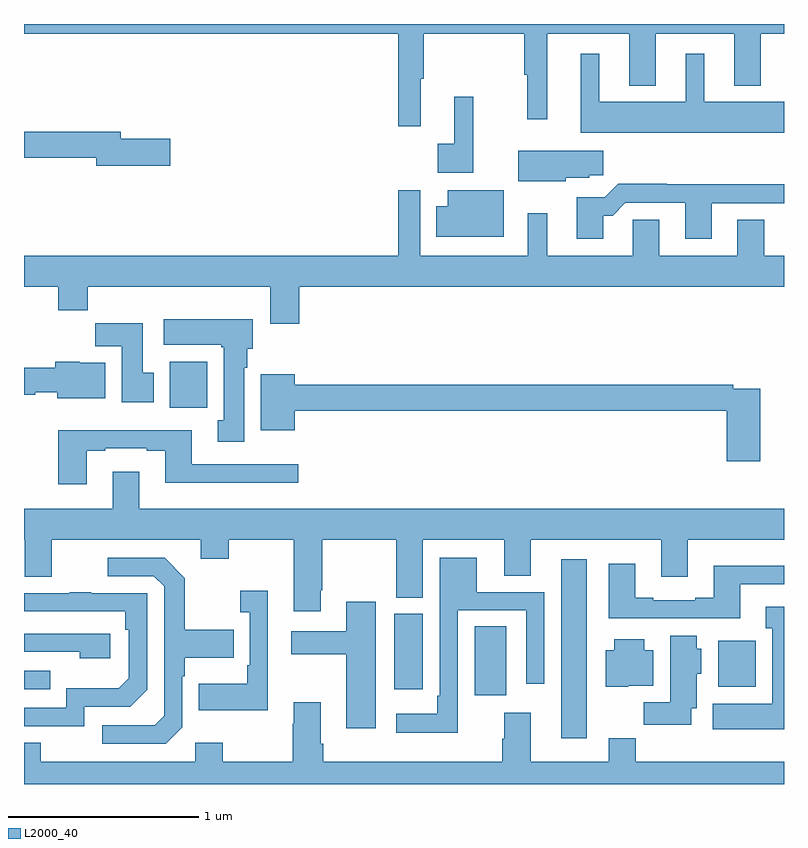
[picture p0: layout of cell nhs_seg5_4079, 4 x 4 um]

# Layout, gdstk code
import gdstk
lib = gdstk.Library(unit=1e-6, precision=1e-09)
def R(c, l, rs):  # rectangles x0, y0, x1, y1
    for r in rs: c.add(gdstk.rectangle(r[:2], r[2:], *l))
def P(c, l, *ps):  # polygons
    for p in ps: c.add(gdstk.Polygon(p, *l))
L2000_40 = (2000, 40)

nhs_seg5_4079 = lib.new_cell('nhs_seg5_4079')
R(nhs_seg5_4079, L2000_40, [(353.828,865.041,353.962,865.981), (353.372,865.266,353.539,865.628), (351,865.299,351.137,865.395), (352.949,865.299,353.098,865.695), (354.653,865.31,354.85,865.552), (351.767,866.78,351.964,867.022)])
P(nhs_seg5_4079, L2000_40, [(351,868.748),(352.969,868.748),(352.969,868.26),(353.087,868.26),(353.087,868.512),(353.105,868.512),(353.105,868.748),(353.634,868.748),(353.634,868.532),(353.649,868.532),(353.649,868.299),(353.755,868.299),(353.755,868.748),(354.185,868.748),(354.185,868.475),(354.325,868.475),(354.325,868.748),(354.737,868.748),(354.737,868.475),(354.877,868.475),(354.877,868.748),(355,868.748),(355,868.799),(351,868.799)],
  [(355,868.39),(354.58,868.39),(354.58,868.642),(354.482,868.642),(354.482,868.39),(354.028,868.39),(354.028,868.642),(353.93,868.642),(353.93,868.226),(355,868.226)],
  [(353.364,868.417),(353.264,868.417),(353.264,868.169),(353.178,868.169),(353.178,868.016),(353.364,868.016)],
  [(351.769,868.196),(351.508,868.196),(351.508,868.232),(351,868.232),(351,868.096),(351.38,868.096),(351.38,868.054),(351.769,868.054)],
  [(353.85,867.989),(353.976,867.989),(353.976,868.003),(354.049,868.003),(354.049,868.132),(353.6,868.132),(353.6,867.971),(353.85,867.971)],
  [(354.049,867.791),(354.098,867.791),(354.165,867.858),(354.479,867.858),(354.479,867.669),(354.619,867.669),(354.619,867.855),(355,867.855),(355,867.956),(354.383,867.956),(354.383,867.959),(354.128,867.959),(354.057,867.888),(353.909,867.888),(353.909,867.669),(354.049,867.669)],
  [(352.448,867.416),(355,867.416),(355,867.58),(354.895,867.58),(354.895,867.77),(354.755,867.77),(354.755,867.58),(354.343,867.58),(354.343,867.77),(354.204,867.77),(354.204,867.58),(353.755,867.58),(353.755,867.802),(353.651,867.802),(353.651,867.58),(353.085,867.58),(353.085,867.925),(352.969,867.925),(352.969,867.58),(351,867.58),(351,867.416),(351.179,867.416),(351.179,867.292),(351.335,867.292),(351.335,867.416),(352.295,867.416),(352.295,867.222),(352.448,867.222)],
  [(353.524,867.925),(353.231,867.925),(353.231,867.841),(353.17,867.841),(353.17,867.68),(353.524,867.68)],
  [(352.159,866.99),(352.174,866.99),(352.174,867.09),(352.204,867.09),(352.204,867.244),(351.735,867.244),(351.735,867.11),(352.039,867.11),(352.039,867.097),(352.052,867.097),(352.052,866.714),(352.019,866.714),(352.019,866.601),(352.159,866.601)],
  [(351.682,866.964),(351.625,866.964),(351.625,867.223),(351.376,867.223),(351.376,867.104),(351.515,867.104),(351.515,866.808),(351.682,866.808)],
  [(351.427,867.016),(351.294,867.016),(351.294,867.022),(351.164,867.022),(351.164,866.991),(351,866.991),(351,866.849),(351.06,866.849),(351.06,866.861),(351.176,866.861),(351.176,866.828),(351.427,866.828)],
  [(354.876,866.88),(354.734,866.88),(354.734,866.9),(352.426,866.9),(352.426,866.956),(352.247,866.956),(352.247,866.66),(352.426,866.66),(352.426,866.764),(354.698,866.764),(354.698,866.499),(354.876,866.499)],
  [(351.331,866.553),(351.427,866.553),(351.427,866.565),(351.647,866.565),(351.647,866.553),(351.743,866.553),(351.743,866.384),(352.444,866.384),(352.444,866.481),(351.883,866.481),(351.883,866.662),(351.179,866.662),(351.179,866.376),(351.331,866.376)],
  [(351.467,866.443),(351.467,866.248),(351,866.248),(351,866.084),(351.005,866.084),(351.005,865.89),(351.145,865.89),(351.145,866.084),(351.929,866.084),(351.929,865.985),(352.077,865.985),(352.077,866.084),(352.421,866.084),(352.421,865.707),(352.561,865.707),(352.561,865.819),(352.569,865.819),(352.569,866.084),(352.96,866.084),(352.96,865.78),(353.098,865.78),(353.098,866.084),(353.528,866.084),(353.528,865.894),(353.668,865.894),(353.668,866.084),(354.353,866.084),(354.353,865.89),(354.493,865.89),(354.493,866.084),(355,866.084),(355,866.248),(351.607,866.248),(351.607,866.443)],
  [(353.283,865.713),(353.643,865.713),(353.643,865.326),(353.739,865.326),(353.739,865.809),(353.383,865.809),(353.383,865.99),(353.187,865.99),(353.187,865.264),(353.175,865.264),(353.175,865.168),(352.959,865.168),(352.959,865.07),(353.283,865.07)],
  [(351.834,865.098),(351.834,865.367),(351.847,865.367),(351.847,865.463),(352.103,865.463),(352.103,865.611),(351.847,865.611),(351.847,865.883),(351.741,865.989),(351.441,865.989),(351.441,865.893),(351.684,865.893),(351.738,865.839),(351.738,865.158),(351.687,865.107),(351.411,865.107),(351.411,865.011),(351.747,865.011)],
  [(354.769,865.851),(355,865.851),(355,865.948),(354.629,865.948),(354.629,865.78),(354.533,865.78),(354.533,865.767),(354.313,865.767),(354.313,865.78),(354.217,865.78),(354.217,865.957),(354.077,865.957),(354.077,865.671),(354.769,865.671)],
  [(352.284,865.816),(352.137,865.816),(352.137,865.703),(352.188,865.703),(352.188,865.423),(352.176,865.423),(352.176,865.327),(351.919,865.327),(351.919,865.187),(352.284,865.187)],
  [(351.318,865.206),(351.558,865.206),(351.648,865.296),(351.648,865.803),(351.353,865.803),(351.353,865.808),(351.241,865.808),(351.241,865.803),(351,865.803),(351,865.707),(351.532,865.707),(351.532,865.61),(351.552,865.61),(351.552,865.356),(351.499,865.303),(351.222,865.303),(351.222,865.2),(351,865.2),(351,865.104),(351.318,865.104)],
  [(352.852,865.759),(352.697,865.759),(352.697,865.603),(352.407,865.603),(352.407,865.481),(352.697,865.481),(352.697,865.092),(352.852,865.092)],
  [(355,865.732),(354.905,865.732),(354.905,865.619),(354.938,865.619),(354.938,865.222),(354.626,865.222),(354.626,865.088),(355,865.088)],
  [(351.454,865.59),(351,865.59),(351,865.494),(351.293,865.494),(351.293,865.46),(351.454,865.46)],
  [(354.511,865.199),(354.541,865.199),(354.541,865.38),(354.565,865.38),(354.565,865.512),(354.541,865.512),(354.541,865.579),(354.401,865.579),(354.401,865.228),(354.262,865.228),(354.262,865.11),(354.511,865.11)],
  [(354.18,865.316),(354.313,865.316),(354.313,865.504),(354.265,865.504),(354.265,865.561),(354.107,865.561),(354.107,865.504),(354.062,865.504),(354.062,865.31),(354.18,865.31)],
  [(355,864.916),(354.221,864.916),(354.221,865.04),(354.077,865.04),(354.077,864.916),(353.668,864.916),(353.668,865.174),(353.528,865.174),(353.528,865.037),(353.516,865.037),(353.516,864.916),(352.574,864.916),(352.574,865.012),(352.561,865.012),(352.561,865.228),(352.421,865.228),(352.421,865.115),(352.414,865.115),(352.414,864.916),(352.047,864.916),(352.047,865.015),(351.9,865.015),(351.9,864.916),(351.087,864.916),(351.087,865.015),(351,865.015),(351,864.799),(355,864.799)])

lib.write_gds('nhs_seg5_4079.gds')
